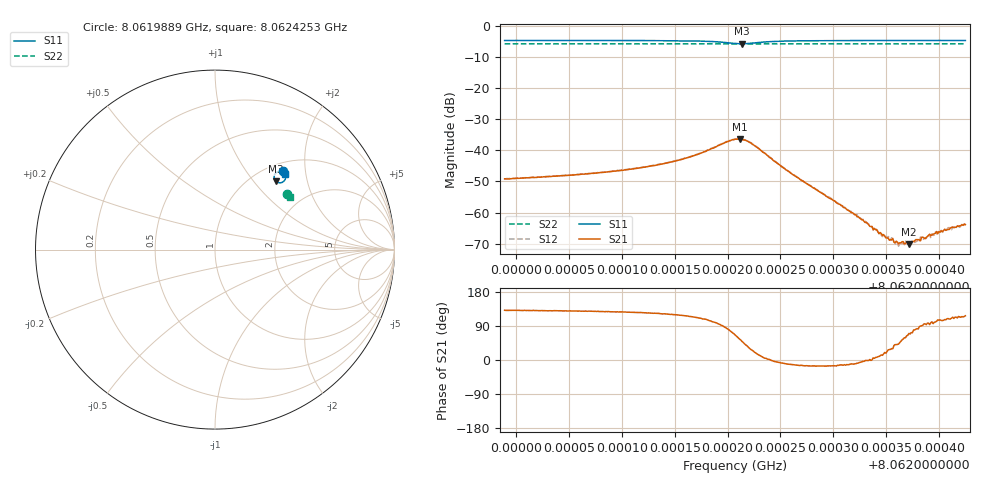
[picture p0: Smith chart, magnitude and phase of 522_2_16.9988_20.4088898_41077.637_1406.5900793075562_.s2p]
#  HZ  S  RI  R  50.00
! Rohde & Schwarz Vector Network Analyzer
! Rohde-Schwarz,ZNB20-2Port,1311601062101988,3.16
! Created: UTC 3/20/2024, 11:15:26 PM
! freq[Hz]  re:S11  im:S11  re:S21  im:S21  re:S12  im:S12  re:S22  im:S22
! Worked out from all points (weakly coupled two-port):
!   401 points, 8.0619889 GHz to 8.0624253 GHz, reference 50 ohm
!   highest |S21| = -36.40 dB at 8.0622114 GHz (marker M1); lowest = -70.1 dB at 8.0623718 GHz (marker M2)
!   lowest |S11| = -5.8 dB at 8.0622136 GHz (marker M3), VSWR 3.08, Z = 63.7 + j65.5 ohm
!   |S11| at or under -10 dB: nowhere
!   |S22| runs from -5.9 to -5.9 dB; largest |S21 - S12| = 0.001
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8.06198889e9  0.3763 0.4362  -0.00229 0.00261  -0.00214 0.00272  0.4024 0.312
8.06206199e9  0.3822 0.4304  -0.0026 0.00322  -0.00242 0.0034  0.405 0.3084
8.06209908e9  0.3858 0.4261  -0.00284 0.0038  -0.00262 0.004  0.4065 0.3062
8.06213508e9  0.3899 0.4195  -0.0032 0.00493  -0.00294 0.00518  0.4078 0.3043
8.06216454e9  0.3932 0.4086  -0.00329 0.00708  -0.00293 0.00733  0.4089 0.3022
8.06219072e9  0.3878 0.3858  -0.00125 0.0117  -0.000659 0.0119  0.4092 0.3
8.06220708e9  0.3575 0.3721  0.00599 0.0138  0.00688 0.0134  0.4082 0.2991
8.06221145e9  0.3451 0.3762  0.00869 0.0124  0.00943 0.0121  0.4078 0.2993
8.06221363e9  0.3398 0.3803  0.0096 0.0111  0.0106 0.0109  0.4078 0.2995
8.06222345e9  0.3294 0.4056  0.0113 0.00533  0.0118 0.00469  0.408 0.3002
8.06225836e9  0.3593 0.4359  0.00442 -0.000892  0.00438 -0.00114  0.4107 0.2995
8.06228018e9  0.3692 0.4352  0.00246 -0.00068  0.00242 -0.000857  0.412 0.2984
8.06232055e9  0.3786 0.4316  0.000909 -0.000163  0.000904 -0.000226  0.4137 0.2962
8.06234455e9  0.3822 0.4296  0.000469 9.1e-05  0.000483 3.05e-05  0.4146 0.2948
8.06235328e9  0.3833 0.429  0.00032 0.000166  0.000364 0.000152  0.4149 0.2944
8.06236091e9  0.384 0.4284  0.000254 0.000221  0.000238 0.000226  0.4153 0.2938
8.06237182e9  0.3853 0.4277  0.000106 0.000294  0.000167 0.000295  0.4156 0.2932
8.06237728e9  0.3858 0.4272  6.4e-05 0.000348  5.98e-05 0.000327  0.4157 0.293
8.06237946e9  0.386 0.4271  4.65e-05 0.000364  6.08e-05 0.000345  0.416 0.2929
8.06238491e9  0.3866 0.4267  -1.24e-05 0.000404  5.91e-05 0.000365  0.416 0.2925
8.06240782e9  0.3886 0.4252  -0.000171 0.000501  -0.000121 0.000521  0.4169 0.2914
8.06242528e9  0.39 0.4239  -0.000288 0.000572  -0.000227 0.000622  0.4175 0.2905
